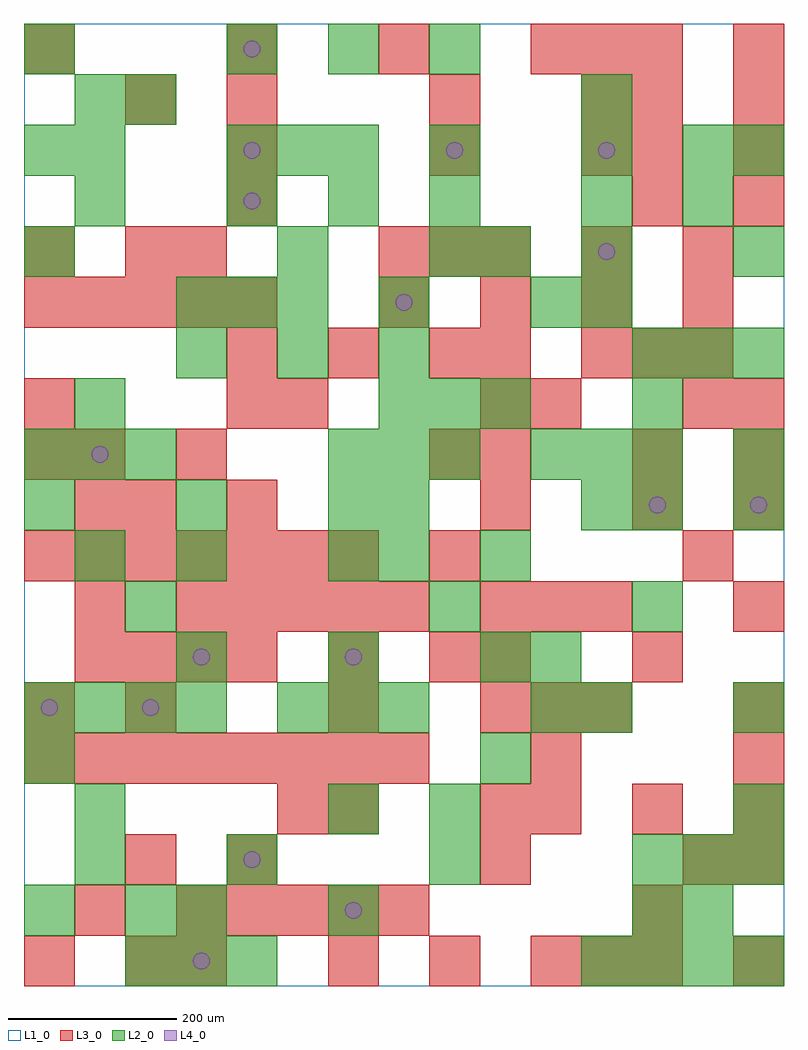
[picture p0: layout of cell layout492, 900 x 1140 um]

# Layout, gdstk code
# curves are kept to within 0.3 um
import gdstk
lib = gdstk.Library(unit=1e-6, precision=1e-09)
def R(c, l, rs):  # rectangles x0, y0, x1, y1
    for r in rs: c.add(gdstk.rectangle(r[:2], r[2:], *l))
def A(c, l, x, y, w, h, nx, ny, dx, dy):  # array of equal rectangles
    R(c, l, [(x+i*dx, y+j*dy, x+i*dx+w, y+j*dy+h) for i in range(nx) for j in range(ny)])
def P(c, l, *ps):  # polygons
    for p in ps: c.add(gdstk.Polygon(p, *l))
L1_0 = (1, 0)
L2_0 = (2, 0)
L3_0 = (3, 0)
L4_0 = (4, 0)

layout492 = lib.new_cell('layout492')
R(layout492, L1_0, [(0,0,900,1140)])
A(layout492, L2_0, 120, 0, 60, 60, 3, 1, 60, 0)
A(layout492, L2_0, 660, 0, 60, 60, 4, 1, 60, 0)
A(layout492, L2_0, 240, 120, 60, 60, 3, 1, 240, 0)
A(layout492, L2_0, 0, 300, 60, 60, 4, 1, 60, 0)
A(layout492, L2_0, 300, 300, 60, 60, 3, 1, 60, 0)
A(layout492, L2_0, 660, 300, 60, 60, 1, 3, 0, 240)
A(layout492, L2_0, 180, 360, 60, 60, 3, 1, 180, 0)
A(layout492, L2_0, 720, 420, 60, 60, 1, 3, 0, 120)
A(layout492, L2_0, 0, 540, 60, 60, 3, 1, 180, 0)
A(layout492, L2_0, 0, 600, 60, 60, 3, 1, 60, 0)
A(layout492, L2_0, 360, 600, 60, 60, 3, 1, 60, 0)
A(layout492, L2_0, 600, 600, 60, 60, 3, 1, 60, 0)
A(layout492, L2_0, 420, 660, 60, 60, 3, 1, 60, 0)
A(layout492, L2_0, 180, 720, 60, 60, 3, 1, 120, 0)
A(layout492, L2_0, 720, 720, 60, 60, 3, 1, 60, 0)
A(layout492, L2_0, 180, 780, 60, 60, 3, 1, 60, 0)
A(layout492, L2_0, 0, 840, 60, 60, 1, 3, 0, 120)
A(layout492, L2_0, 660, 840, 60, 60, 1, 4, 0, 60)
A(layout492, L2_0, 60, 900, 60, 60, 1, 3, 0, 60)
A(layout492, L2_0, 240, 900, 60, 60, 3, 2, 120, 180)
A(layout492, L2_0, 240, 960, 60, 60, 3, 1, 60, 0)
R(layout492, L2_0, [(0,60,60,120), (120,60,180,120), (180,60,240,120), (360,60,420,120), (720,60,780,120), (780,60,840,120), (60,120,120,180), (780,120,840,180), (840,120,900,180), (60,180,120,240), (360,180,420,240), (480,180,540,240), (840,180,900,240), (0,240,60,300), (540,240,600,300), (600,300,660,360), (840,300,900,360), (600,360,660,420), (120,420,180,480), (480,420,540,480), (60,480,120,540), (180,480,240,540), (360,480,420,540), (420,480,480,540), (540,480,600,540), (420,540,480,600), (840,540,900,600), (840,600,900,660), (60,660,120,720), (420,780,480,840), (600,780,660,840), (300,840,360,900), (480,840,540,900), (540,840,600,900), (840,840,900,900), (780,900,840,960), (480,960,540,1020), (780,960,840,1020), (840,960,900,1020), (120,1020,180,1080)])
A(layout492, L3_0, 0, 0, 60, 60, 1, 3, 0, 300)
A(layout492, L3_0, 360, 0, 60, 60, 3, 1, 120, 0)
A(layout492, L3_0, 840, 0, 60, 60, 1, 3, 0, 120)
A(layout492, L3_0, 180, 60, 60, 60, 5, 2, 60, 360)
A(layout492, L3_0, 540, 180, 60, 60, 1, 3, 0, 180)
A(layout492, L3_0, 600, 180, 60, 60, 3, 1, 120, 0)
A(layout492, L3_0, 0, 240, 60, 60, 8, 1, 60, 0)
A(layout492, L3_0, 540, 300, 60, 60, 3, 2, 60, 120)
A(layout492, L3_0, 840, 300, 60, 60, 1, 3, 0, 120)
A(layout492, L3_0, 60, 360, 60, 60, 4, 1, 60, 0)
A(layout492, L3_0, 480, 360, 60, 60, 1, 3, 0, 120)
A(layout492, L3_0, 0, 480, 60, 60, 7, 1, 60, 0)
A(layout492, L3_0, 780, 480, 60, 60, 1, 3, 0, 180)
A(layout492, L3_0, 540, 600, 60, 60, 1, 3, 0, 60)
A(layout492, L3_0, 240, 720, 60, 60, 3, 1, 120, 0)
A(layout492, L3_0, 660, 720, 60, 60, 3, 1, 60, 0)
A(layout492, L3_0, 0, 780, 60, 60, 5, 1, 60, 0)
A(layout492, L3_0, 420, 780, 60, 60, 4, 1, 120, 0)
A(layout492, L3_0, 420, 840, 60, 60, 3, 1, 60, 0)
A(layout492, L3_0, 240, 900, 60, 60, 1, 3, 0, 60)
A(layout492, L3_0, 720, 900, 60, 60, 1, 4, 0, 60)
A(layout492, L3_0, 840, 900, 60, 60, 1, 4, 0, 60)
A(layout492, L3_0, 660, 960, 60, 60, 1, 3, 0, 60)
A(layout492, L3_0, 240, 1080, 60, 60, 3, 1, 180, 0)
R(layout492, L3_0, [(120,0,180,60), (180,0,240,60), (660,0,720,60), (720,0,780,60), (60,60,120,120), (720,60,780,120), (120,120,180,180), (240,120,300,180), (540,120,600,180), (780,120,840,180), (300,180,360,240), (360,180,420,240), (600,240,660,300), (120,300,180,360), (360,300,420,360), (360,360,420,420), (720,360,780,420), (60,420,120,480), (60,540,120,600), (120,540,180,600), (240,540,300,600), (720,540,780,600), (60,600,120,660), (180,600,240,660), (720,600,780,660), (840,600,900,660), (0,660,60,720), (240,660,300,720), (300,660,360,720), (600,660,660,720), (840,660,900,720), (0,840,60,900), (120,840,180,900), (180,840,240,900), (660,840,720,900), (480,960,540,1020), (120,1020,180,1080), (480,1020,540,1080), (0,1080,60,1140)])
P(layout492, L4_0, [(40,330),(39.239,333.827),(37.071,337.071),(33.827,339.239),(30,340),(26.173,339.239),(22.929,337.071),(20.761,333.827),(20,330),(20.761,326.173),(22.929,322.929),(26.173,320.761),(30,320),(33.827,320.761),(37.071,322.929),(39.239,326.173)],
  [(100,630),(99.239,633.827),(97.071,637.071),(93.827,639.239),(90,640),(86.173,639.239),(82.929,637.071),(80.761,633.827),(80,630),(80.761,626.173),(82.929,622.929),(86.173,620.761),(90,620),(93.827,620.761),(97.071,622.929),(99.239,626.173)],
  [(160,330),(159.239,333.827),(157.071,337.071),(153.827,339.239),(150,340),(146.173,339.239),(142.929,337.071),(140.761,333.827),(140,330),(140.761,326.173),(142.929,322.929),(146.173,320.761),(150,320),(153.827,320.761),(157.071,322.929),(159.239,326.173)],
  [(220,30),(219.239,33.827),(217.071,37.071),(213.827,39.239),(210,40),(206.173,39.239),(202.929,37.071),(200.761,33.827),(200,30),(200.761,26.173),(202.929,22.929),(206.173,20.761),(210,20),(213.827,20.761),(217.071,22.929),(219.239,26.173)],
  [(220,390),(219.239,393.827),(217.071,397.071),(213.827,399.239),(210,400),(206.173,399.239),(202.929,397.071),(200.761,393.827),(200,390),(200.761,386.173),(202.929,382.929),(206.173,380.761),(210,380),(213.827,380.761),(217.071,382.929),(219.239,386.173)],
  [(280,150),(279.239,153.827),(277.071,157.071),(273.827,159.239),(270,160),(266.173,159.239),(262.929,157.071),(260.761,153.827),(260,150),(260.761,146.173),(262.929,142.929),(266.173,140.761),(270,140),(273.827,140.761),(277.071,142.929),(279.239,146.173)],
  [(280,930),(279.239,933.827),(277.071,937.071),(273.827,939.239),(270,940),(266.173,939.239),(262.929,937.071),(260.761,933.827),(260,930),(260.761,926.173),(262.929,922.929),(266.173,920.761),(270,920),(273.827,920.761),(277.071,922.929),(279.239,926.173)],
  [(280,990),(279.239,993.827),(277.071,997.071),(273.827,999.239),(270,1000),(266.173,999.239),(262.929,997.071),(260.761,993.827),(260,990),(260.761,986.173),(262.929,982.929),(266.173,980.761),(270,980),(273.827,980.761),(277.071,982.929),(279.239,986.173)],
  [(280,1110),(279.239,1113.827),(277.071,1117.071),(273.827,1119.239),(270,1120),(266.173,1119.239),(262.929,1117.071),(260.761,1113.827),(260,1110),(260.761,1106.173),(262.929,1102.929),(266.173,1100.761),(270,1100),(273.827,1100.761),(277.071,1102.929),(279.239,1106.173)],
  [(400,90),(399.239,93.827),(397.071,97.071),(393.827,99.239),(390,100),(386.173,99.239),(382.929,97.071),(380.761,93.827),(380,90),(380.761,86.173),(382.929,82.929),(386.173,80.761),(390,80),(393.827,80.761),(397.071,82.929),(399.239,86.173)],
  [(400,390),(399.239,393.827),(397.071,397.071),(393.827,399.239),(390,400),(386.173,399.239),(382.929,397.071),(380.761,393.827),(380,390),(380.761,386.173),(382.929,382.929),(386.173,380.761),(390,380),(393.827,380.761),(397.071,382.929),(399.239,386.173)],
  [(460,810),(459.239,813.827),(457.071,817.071),(453.827,819.239),(450,820),(446.173,819.239),(442.929,817.071),(440.761,813.827),(440,810),(440.761,806.173),(442.929,802.929),(446.173,800.761),(450,800),(453.827,800.761),(457.071,802.929),(459.239,806.173)],
  [(520,990),(519.239,993.827),(517.071,997.071),(513.827,999.239),(510,1000),(506.173,999.239),(502.929,997.071),(500.761,993.827),(500,990),(500.761,986.173),(502.929,982.929),(506.173,980.761),(510,980),(513.827,980.761),(517.071,982.929),(519.239,986.173)],
  [(700,870),(699.239,873.827),(697.071,877.071),(693.827,879.239),(690,880),(686.173,879.239),(682.929,877.071),(680.761,873.827),(680,870),(680.761,866.173),(682.929,862.929),(686.173,860.761),(690,860),(693.827,860.761),(697.071,862.929),(699.239,866.173)],
  [(700,990),(699.239,993.827),(697.071,997.071),(693.827,999.239),(690,1000),(686.173,999.239),(682.929,997.071),(680.761,993.827),(680,990),(680.761,986.173),(682.929,982.929),(686.173,980.761),(690,980),(693.827,980.761),(697.071,982.929),(699.239,986.173)],
  [(760,570),(759.239,573.827),(757.071,577.071),(753.827,579.239),(750,580),(746.173,579.239),(742.929,577.071),(740.761,573.827),(740,570),(740.761,566.173),(742.929,562.929),(746.173,560.761),(750,560),(753.827,560.761),(757.071,562.929),(759.239,566.173)],
  [(880,570),(879.239,573.827),(877.071,577.071),(873.827,579.239),(870,580),(866.173,579.239),(862.929,577.071),(860.761,573.827),(860,570),(860.761,566.173),(862.929,562.929),(866.173,560.761),(870,560),(873.827,560.761),(877.071,562.929),(879.239,566.173)])

lib.write_gds('layout492.gds')
